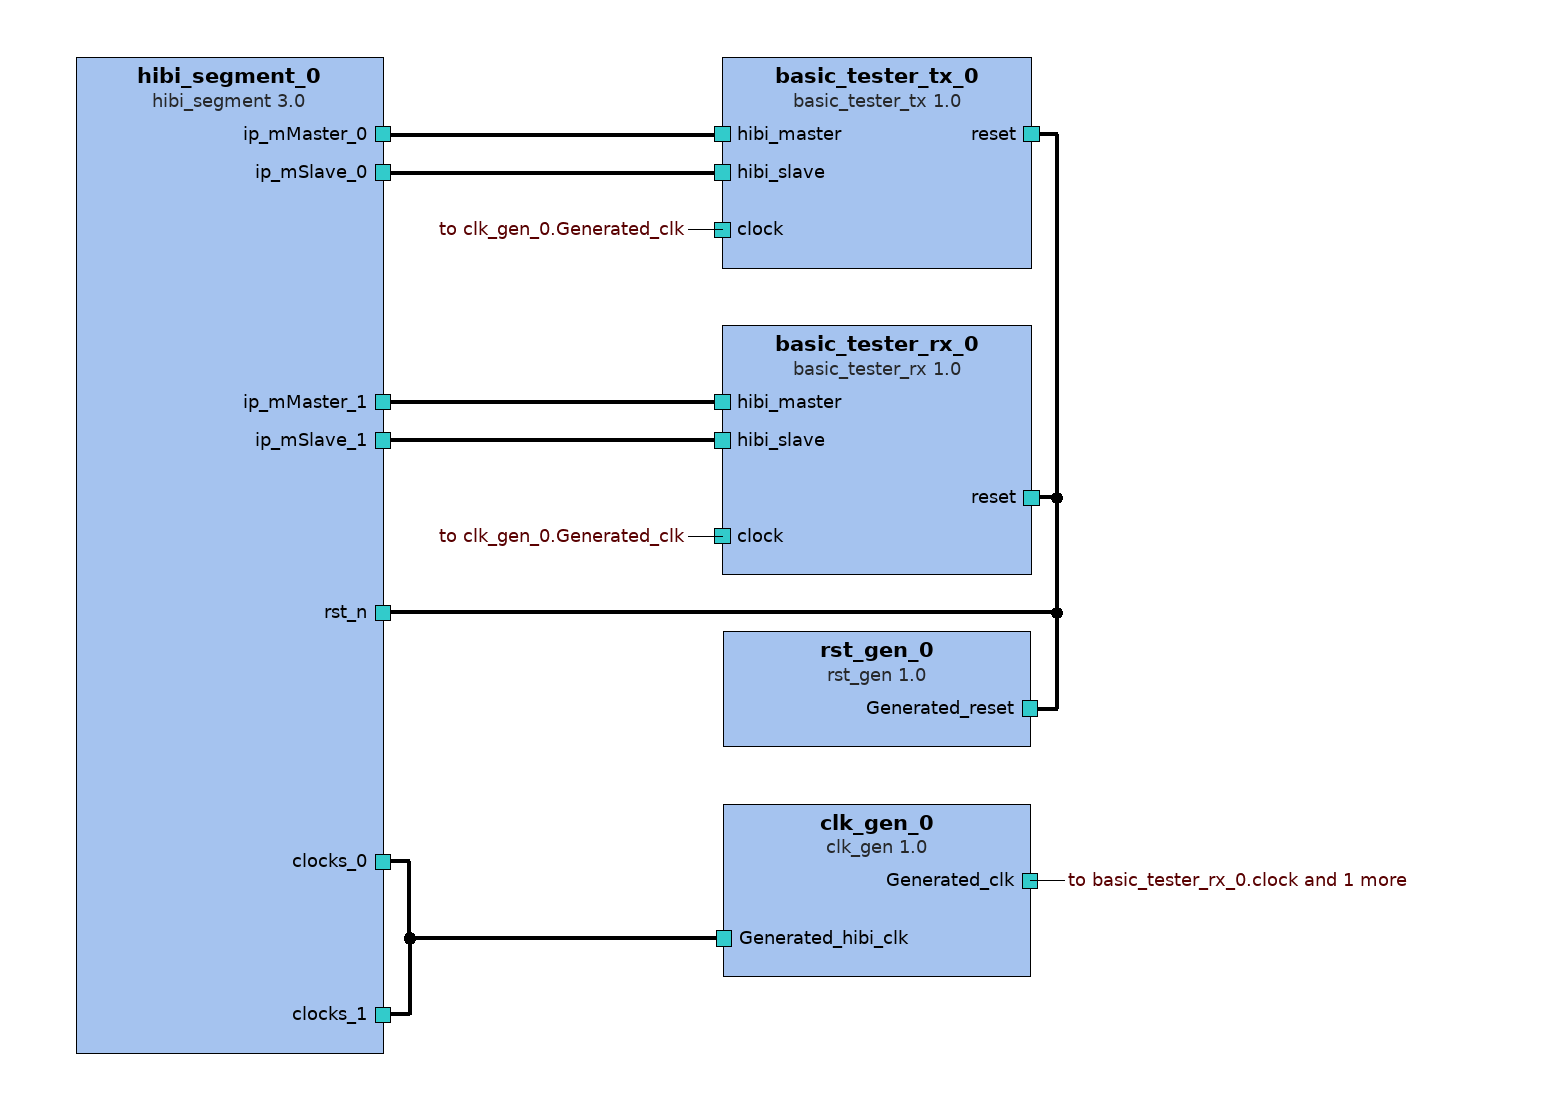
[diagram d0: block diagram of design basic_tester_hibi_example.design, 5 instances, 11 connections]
<?xml version="1.0" encoding="UTF-8"?>
<!-- Created by Kactus2 - Open source IP-Xact toolset -->
<!-- http://sourceforge.net/projects/kactus2/ -->
<!-- Date: 02.07.2012 -->
<!-- Time: 17:03:47 -->
<spirit:design xmlns:kactus2="http://funbase.cs.tut.fi/" xmlns:spirit="http://www.spiritconsortium.org/XMLSchema/SPIRIT/1.5" xmlns:xsi="http://www.w3.org/2001/XMLSchema-instance" xsi:schemaLocation="http://www.spiritconsortium.org/XMLSchema/SPIRIT/1.5 http://www.spiritconsortium.org/XMLSchema/SPIRIT/1.5/index.xsd"><spirit:vendor>TUT</spirit:vendor><spirit:library>soc</spirit:library><spirit:name>basic_tester_hibi_example.design</spirit:name>
 <spirit:version>1.0</spirit:version><spirit:componentInstances>
 <spirit:componentInstance><spirit:instanceName>basic_tester_tx_0</spirit:instanceName><spirit:componentRef spirit:vendor="TUT" spirit:library="ip.hwp.communication" spirit:name="basic_tester_tx" spirit:version="1.0"/><spirit:configurableElementValues><spirit:configurableElementValue spirit:referenceId="conf_file_g">"test_tx.txt"</spirit:configurableElementValue></spirit:configurableElementValues></spirit:componentInstance>
 <spirit:componentInstance><spirit:instanceName>basic_tester_rx_0</spirit:instanceName><spirit:componentRef spirit:vendor="TUT" spirit:library="ip.hwp.communication" spirit:name="basic_tester_rx" spirit:version="1.0"/><spirit:configurableElementValues><spirit:configurableElementValue spirit:referenceId="conf_file_g">"test_rx.txt"</spirit:configurableElementValue></spirit:configurableElementValues></spirit:componentInstance>
 <spirit:componentInstance><spirit:instanceName>rst_gen_0</spirit:instanceName><spirit:componentRef spirit:vendor="TUT" spirit:library="ip.hwp.interface" spirit:name="rst_gen" spirit:version="1.0"/></spirit:componentInstance>
 <spirit:componentInstance><spirit:instanceName>clk_gen_0</spirit:instanceName><spirit:componentRef spirit:vendor="TUT" spirit:library="ip.hwp.interface" spirit:name="clk_gen" spirit:version="1.0"/></spirit:componentInstance>
 <spirit:componentInstance><spirit:instanceName>hibi_segment_0</spirit:instanceName>
  <spirit:componentRef spirit:vendor="TUT" spirit:library="ip.hwp.communication" spirit:name="hibi_segment" spirit:version="3.0"/>
  <spirit:configurableElementValues><spirit:configurableElementValue spirit:referenceId="hibi_addr_0_g">16#01000000#</spirit:configurableElementValue><spirit:configurableElementValue spirit:referenceId="hibi_addr_1_g">16#03000000#</spirit:configurableElementValue><spirit:configurableElementValue spirit:referenceId="hibi_addr_2_g">16#03000000#</spirit:configurableElementValue><spirit:configurableElementValue spirit:referenceId="hibi_addr_3_g">16#07000000#</spirit:configurableElementValue>
   <spirit:configurableElementValue spirit:referenceId="hibi_end_addr_0_g">16#03000000#-1</spirit:configurableElementValue><spirit:configurableElementValue spirit:referenceId="hibi_end_addr_1_g">16#03000000#-1</spirit:configurableElementValue><spirit:configurableElementValue spirit:referenceId="hibi_end_addr_2_g">16#07000000#-1</spirit:configurableElementValue><spirit:configurableElementValue spirit:referenceId="hibi_end_addr_3_g">16#09000000#-1</spirit:configurableElementValue>
  </spirit:configurableElementValues>
 </spirit:componentInstance>
</spirit:componentInstances><spirit:interconnections>
 <spirit:interconnection><spirit:name>clk_gen_0_Generated_hibi_clk_to_hibi_segment_0_clocks_0</spirit:name><spirit:activeInterface spirit:componentRef="clk_gen_0" spirit:busRef="Generated_hibi_clk"/><spirit:activeInterface spirit:componentRef="hibi_segment_0" spirit:busRef="clocks_0"/></spirit:interconnection>
 <spirit:interconnection><spirit:name>clk_gen_0_Generated_hibi_clk_to_hibi_segment_0_clocks_1</spirit:name><spirit:activeInterface spirit:componentRef="clk_gen_0" spirit:busRef="Generated_hibi_clk"/><spirit:activeInterface spirit:componentRef="hibi_segment_0" spirit:busRef="clocks_1"/></spirit:interconnection>
 <spirit:interconnection><spirit:name>rst_gen_0_Generated_reset_to_hibi_segment_0_rst_n</spirit:name><spirit:activeInterface spirit:componentRef="rst_gen_0" spirit:busRef="Generated_reset"/><spirit:activeInterface spirit:componentRef="hibi_segment_0" spirit:busRef="rst_n"/></spirit:interconnection>
 <spirit:interconnection><spirit:name>hibi_segment_0_ip_mMaster_0_to_basic_tester_tx_0_hibi_master</spirit:name><spirit:activeInterface spirit:componentRef="hibi_segment_0" spirit:busRef="ip_mMaster_0"/><spirit:activeInterface spirit:componentRef="basic_tester_tx_0" spirit:busRef="hibi_master"/></spirit:interconnection>
 <spirit:interconnection><spirit:name>rst_t_n</spirit:name><spirit:activeInterface spirit:componentRef="rst_gen_0" spirit:busRef="Generated_reset"/><spirit:activeInterface spirit:componentRef="basic_tester_tx_0" spirit:busRef="reset"/></spirit:interconnection>
 <spirit:interconnection><spirit:name>hibi_segment_0_ip_mSlave_0_to_basic_tester_tx_0_hibi_slave</spirit:name><spirit:activeInterface spirit:componentRef="hibi_segment_0" spirit:busRef="ip_mSlave_0"/><spirit:activeInterface spirit:componentRef="basic_tester_tx_0" spirit:busRef="hibi_slave"/></spirit:interconnection>
 <spirit:interconnection><spirit:name>rst_r_n</spirit:name><spirit:activeInterface spirit:componentRef="rst_gen_0" spirit:busRef="Generated_reset"/><spirit:activeInterface spirit:componentRef="basic_tester_rx_0" spirit:busRef="reset"/></spirit:interconnection>
 <spirit:interconnection><spirit:name>clk_gen_0_Generated_clk_to_basic_tester_rx_0_clock</spirit:name><spirit:activeInterface spirit:componentRef="clk_gen_0" spirit:busRef="Generated_clk"/><spirit:activeInterface spirit:componentRef="basic_tester_rx_0" spirit:busRef="clock"/></spirit:interconnection>
 <spirit:interconnection><spirit:name>clk_gen_0_Generated_clk_to_basic_tester_tx_0_clock</spirit:name><spirit:activeInterface spirit:componentRef="clk_gen_0" spirit:busRef="Generated_clk"/><spirit:activeInterface spirit:componentRef="basic_tester_tx_0" spirit:busRef="clock"/></spirit:interconnection>
 <spirit:interconnection><spirit:name>basic_tester_rx_0_hibi_slave_to_hibi_segment_0_ip_mSlave_1</spirit:name><spirit:activeInterface spirit:componentRef="basic_tester_rx_0" spirit:busRef="hibi_slave"/><spirit:activeInterface spirit:componentRef="hibi_segment_0" spirit:busRef="ip_mSlave_1"/></spirit:interconnection>
 <spirit:interconnection><spirit:name>basic_tester_rx_0_hibi_master_to_hibi_segment_0_ip_mMaster_1</spirit:name><spirit:activeInterface spirit:componentRef="basic_tester_rx_0" spirit:busRef="hibi_master"/><spirit:activeInterface spirit:componentRef="hibi_segment_0" spirit:busRef="ip_mMaster_1"/></spirit:interconnection>
</spirit:interconnections></spirit:design>

